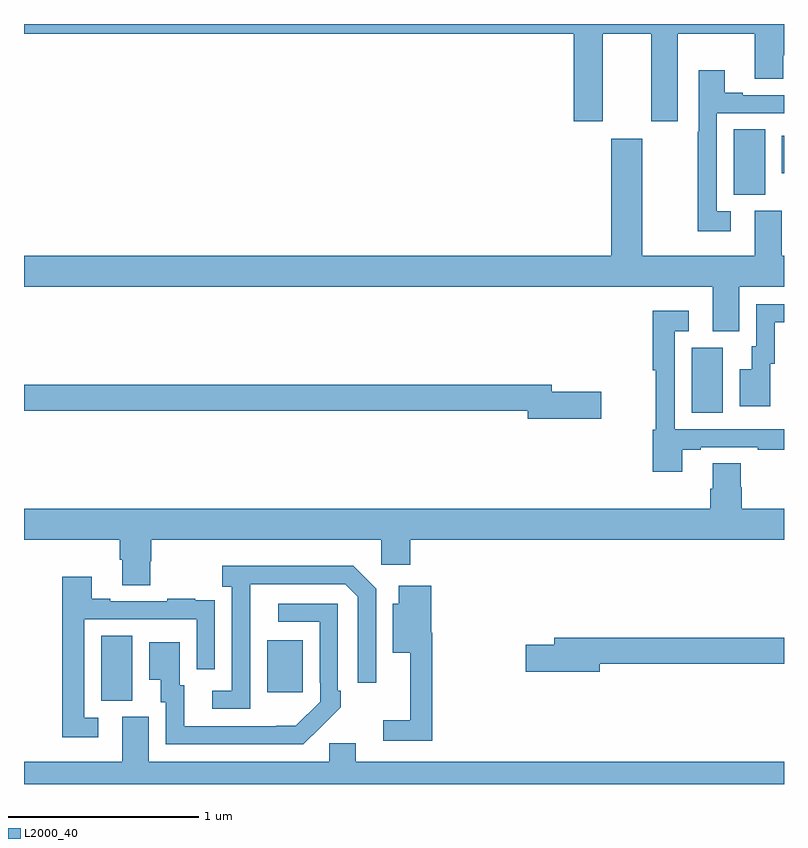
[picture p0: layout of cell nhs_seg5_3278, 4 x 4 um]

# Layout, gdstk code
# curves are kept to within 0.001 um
import gdstk
lib = gdstk.Library(unit=1e-6, precision=1e-09)
def R(c, l, rs):  # rectangles x0, y0, x1, y1
    for r in rs: c.add(gdstk.rectangle(r[:2], r[2:], *l))
def P(c, l, *ps):  # polygons
    for p in ps: c.add(gdstk.Polygon(p, *l))
L2000_40 = (2000, 40)

nhs_seg5_3278 = lib.new_cell('nhs_seg5_3278')
R(nhs_seg5_3278, L2000_40, [(301.406,865.237,301.57,865.58), (302.279,865.281,302.467,865.555), (304.514,866.752,304.678,867.096), (304.736,867.901,304.9,868.244), (304.988,868.013,305,868.21)])
P(nhs_seg5_3278, L2000_40, [(304.045,868.748),(304.301,868.748),(304.301,868.287),(304.441,868.287),(304.441,868.748),(304.847,868.748),(304.847,868.51),(304.995,868.51),(304.995,868.635),(305,868.635),(305,868.799),(301,868.799),(301,868.748),(303.893,868.748),(303.893,868.287),(304.045,868.287)],
  [(304.72,867.813),(304.647,867.813),(304.647,868.329),(305,868.329),(305,868.425),(304.783,868.425),(304.783,868.438),(304.687,868.438),(304.687,868.555),(304.551,868.555),(304.551,868.232),(304.546,868.232),(304.546,867.708),(304.72,867.708)],
  [(304.765,867.416),(305,867.416),(305,867.58),(304.987,867.58),(304.987,867.816),(304.847,867.816),(304.847,867.58),(304.255,867.58),(304.255,868.195),(304.091,868.195),(304.091,867.58),(301,867.58),(301,867.416),(304.625,867.416),(304.625,867.181),(304.765,867.181)],
  [(304.927,867.012),(304.951,867.012),(304.951,867.228),(305,867.228),(305,867.324),(304.854,867.324),(304.854,867.102),(304.829,867.102),(304.829,866.983),(304.766,866.983),(304.766,866.787),(304.927,866.787)],
  [(304.465,866.559),(304.561,866.559),(304.561,866.571),(304.861,866.571),(304.861,866.559),(305,866.559),(305,866.667),(304.425,866.667),(304.425,867.183),(304.498,867.183),(304.498,867.289),(304.309,867.289),(304.309,866.976),(304.324,866.976),(304.324,866.664),(304.309,866.664),(304.309,866.442),(304.465,866.442)],
  [(304.039,866.864),(303.778,866.864),(303.778,866.9),(301,866.9),(301,866.764),(303.65,866.764),(303.65,866.722),(304.039,866.722)],
  [(301.665,865.971),(301.67,865.971),(301.67,866.084),(302.88,866.084),(302.88,865.953),(303.032,865.953),(303.032,866.084),(305,866.084),(305,866.248),(304.778,866.248),(304.778,866.361),(304.773,866.361),(304.773,866.486),(304.625,866.486),(304.625,866.354),(304.613,866.354),(304.613,866.248),(301,866.248),(301,866.084),(301.505,866.084),(301.505,865.978),(301.517,865.978),(301.517,865.846),(301.665,865.846)],
  [(302.19,865.651),(302.191,865.851),(302.691,865.851),(302.757,865.785),(302.757,865.332),(302.853,865.332),(302.853,865.827),(302.732,865.948),(302.043,865.948),(302.043,865.838),(302.094,865.838),(302.094,865.29),(301.992,865.29),(301.992,865.194),(302.19,865.194)],
  [(301.39,865.149),(301.317,865.149),(301.317,865.665),(301.908,865.665),(301.908,865.404),(302.004,865.404),(302.004,865.658),(302.003,865.658),(302.003,865.767),(301.901,865.767),(301.901,865.774),(301.753,865.774),(301.753,865.761),(301.453,865.761),(301.453,865.774),(301.357,865.774),(301.357,865.891),(301.201,865.891),(301.201,865.044),(301.39,865.044)],
  [(303.149,865.594),(303.143,865.594),(303.143,865.843),(302.972,865.843),(302.972,865.747),(302.942,865.747),(302.942,865.49),(303.032,865.49),(303.032,865.135),(302.892,865.135),(302.892,865.026),(303.149,865.026)],
  [(302.561,865.099),(302.562,865.098),(302.667,865.203),(302.667,865.291),(302.652,865.291),(302.652,865.749),(302.337,865.749),(302.337,865.653),(302.556,865.653),(302.556,865.333),(302.559,865.333),(302.559,865.233),(302.431,865.105),(301.843,865.104),(301.843,865.32),(301.819,865.32),(301.819,865.546),(301.658,865.546),(301.658,865.349),(301.721,865.349),(301.721,865.23),(301.746,865.23),(301.746,865.008),(302.47,865.008)],
  [(304.03,865.432),(305,865.432),(305,865.568),(303.791,865.568),(303.791,865.532),(303.642,865.532),(303.642,865.39),(304.03,865.39)],
  [(305,864.916),(302.746,864.916),(302.746,865.014),(302.607,865.014),(302.607,864.916),(301.657,864.916),(301.657,865.152),(301.517,865.152),(301.517,864.916),(301,864.916),(301,864.799),(305,864.799)])

lib.write_gds('nhs_seg5_3278.gds')
